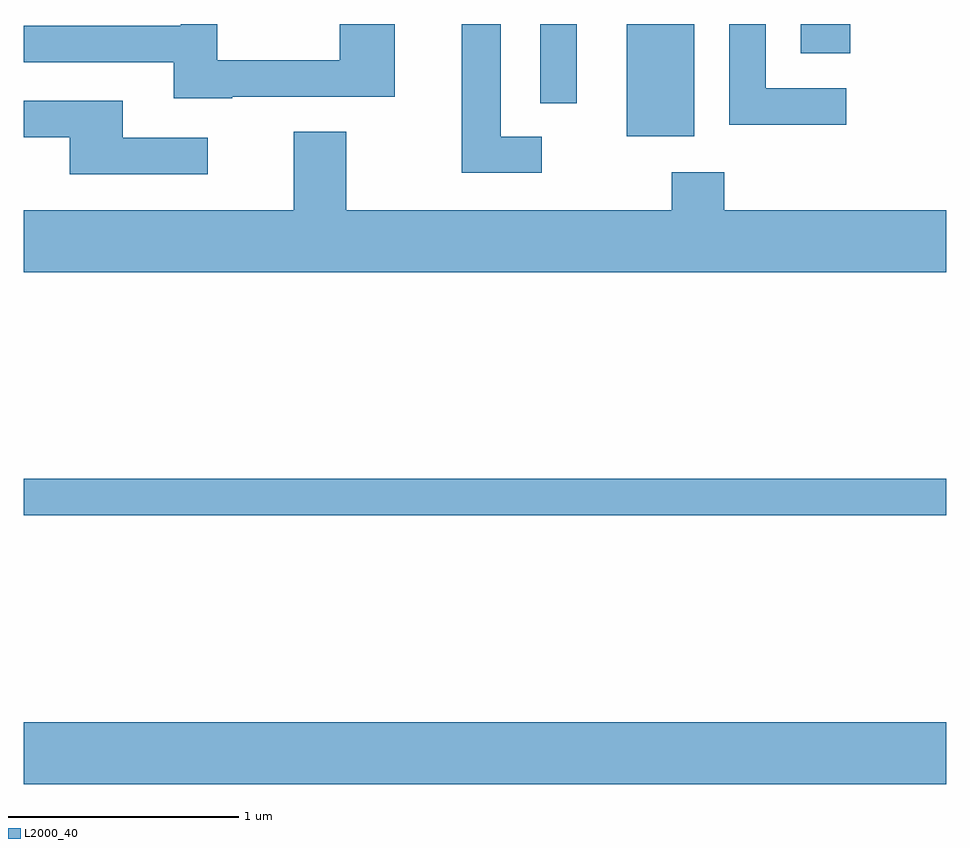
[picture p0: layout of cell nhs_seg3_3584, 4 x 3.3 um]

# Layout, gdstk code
import gdstk
lib = gdstk.Library(unit=1e-6, precision=1e-09)
def R(c, l, rs):  # rectangles x0, y0, x1, y1
    for r in rs: c.add(gdstk.rectangle(r[:2], r[2:], *l))
def P(c, l, *ps):  # polygons
    for p in ps: c.add(gdstk.Polygon(p, *l))
L2000_40 = (2000, 40)

nhs_seg3_3584 = lib.new_cell('nhs_seg3_3584')
R(nhs_seg3_3584, L2000_40, [(289.611,1212.596,293.611,1212.864), (289.611,1213.761,293.611,1213.919), (292.226,1215.406,292.519,1215.892), (291.851,1215.548,292.009,1215.892), (292.981,1215.766,293.194,1215.892)])
P(nhs_seg3_3584, L2000_40, [(293.178,1215.614),(292.829,1215.614),(292.829,1215.892),(292.671,1215.892),(292.671,1215.456),(293.178,1215.456)],
  [(290.515,1215.576),(291.219,1215.576),(291.219,1215.892),(290.981,1215.892),(290.981,1215.734),(290.449,1215.734),(290.449,1215.892),(290.291,1215.892),(290.291,1215.884),(289.611,1215.884),(289.611,1215.726),(290.261,1215.726),(290.261,1215.571),(290.515,1215.571)],
  [(291.858,1215.404),(291.679,1215.404),(291.679,1215.892),(291.511,1215.892),(291.511,1215.246),(291.858,1215.246)],
  [(290.408,1215.399),(290.039,1215.399),(290.039,1215.559),(289.611,1215.559),(289.611,1215.401),(289.811,1215.401),(289.811,1215.241),(290.408,1215.241)],
  [(293.611,1215.084),(292.649,1215.084),(292.649,1215.249),(292.421,1215.249),(292.421,1215.084),(291.009,1215.084),(291.009,1215.424),(290.781,1215.424),(290.781,1215.084),(289.611,1215.084),(289.611,1214.816),(293.611,1214.816)])

lib.write_gds('nhs_seg3_3584.gds')
